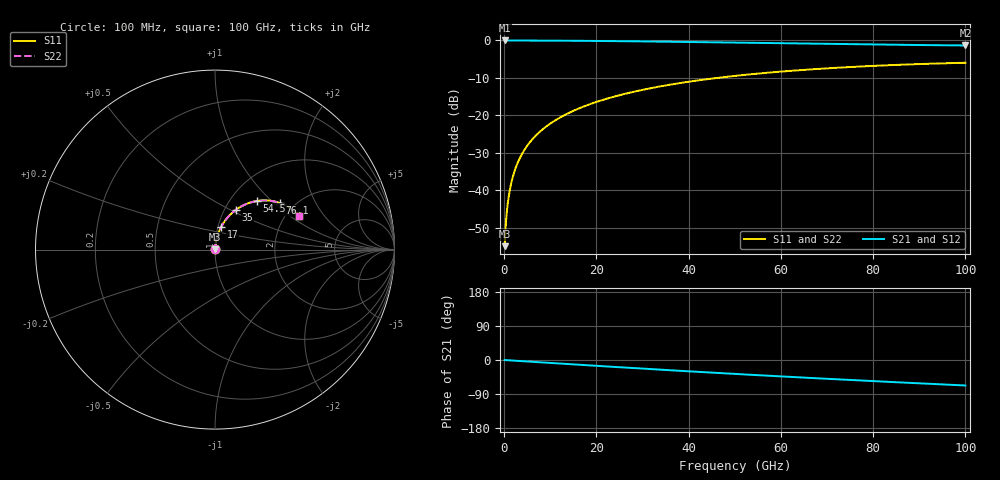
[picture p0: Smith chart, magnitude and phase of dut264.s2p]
! Touchstone file exported from HFSS 2026.1.0
!  File:  C:/ffzhzh/LocalFiles/Ansys_Project_Files/temp_train_RDL_264_1783501741_31944.aedt
!  Generated:  05:10:17 PM Jul  8, 2026
!  Design:  RDL
!  Project:  temp_train_RDL_264_1783501741_31944
! Variables:
!  h_bsmrdl = 2um
!  h_ox = 20um
!  h_rdl = 5um
!  h_sub = 80um
!  h_tmrdl = 2.41um
!  h_tsv = 80um
!  h_via = 3um
!  l_bsmrdl = 300um
!  l_sub = 589.78um
!  l_tmrdl = 189.78um
!  m_sub = 200um
!  pitch = 44.6um
!  r_tsv = 6um
!  s_tmrdl = 10um
!  w_bsmrdl = 18um
!  w_sub = 500um
!  w_tmrdl = 22.75um
!  x_tsv_center1 = 201.155um
!  x_tsv_center2 = 519.155um
!  x_tsv_center3 = 731.685um
!  x_tsv_center4 = 1049.685um
!  x_tsv_center5 = 1262.215um
!  x_tsv_center6 = 1580.215um
# GHz S MA R 50.000000
! Terminal data exported
! Port[1] = TM_RDL1_1_T1
! Port[2] = TM_RDL1_1_T2
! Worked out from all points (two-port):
!   1000 points, 100 MHz to 100 GHz, reference 50 ohm
!   highest |S21| = -0.01 dB at 100 MHz (marker M1); lowest = -1.3 dB at 100 GHz (marker M2)
!   |S21| within 3 dB of the highest: start of sweep to end of sweep
!   lowest |S11| = -54.9 dB at 100 MHz (marker M3), VSWR 1.00, Z = 50.2 + j0.0879 ohm
!   |S11| at or under -10 dB: start of sweep to 46.31 GHz
!   |S22| runs from -54.9 to -6.0 dB; largest |S21 - S12| = 6.1e-15
!   S11 on the Smith chart (normalised r, x): 100 MHz: 1.00, +0.00; 17 GHz: 1.04, +0.26; 35 GHz: 1.13, +0.53; 54.5 GHz: 1.32, +0.82; 76.1 GHz: 1.68, +1.09; 100 GHz: 2.33, +1.18
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0.1  0.001792 29.3  0.9984 -0.1  0.9984 -0.1  0.001792 29.3
! Gamma 0 0 0 0
! Port Impedance 50 0 50 0
0.4  0.003811 62.8  0.9983 -0.3  0.9983 -0.3  0.003811 62.8
0.9  0.007574 74.5  0.998 -0.7  0.998 -0.7  0.007574 74.4
1.2  0.009852 77.3  0.9979 -1.0  0.9979 -1.0  0.009852 77.3
1.6  0.01292 79.6  0.9979 -1.3  0.9979 -1.3  0.01292 79.6
2.1  0.01678 81.1  0.9977 -1.7  0.9977 -1.7  0.01678 81.1
2.7  0.02143 82.0  0.9976 -2.1  0.9976 -2.1  0.02143 82.0
4.2  0.03306 82.7  0.9971 -3.3  0.9971 -3.3  0.03306 82.6
6.3  0.0493 82.1  0.9962 -4.9  0.9962 -4.9  0.0493 82.0
9.1  0.07073 80.5  0.9945 -7.1  0.9945 -7.1  0.07073 80.4
12.6  0.09705 78.1  0.9916 -9.8  0.9916 -9.8  0.09706 78.1
16.8  0.1279 75.1  0.9874 -13.0  0.9874 -13.0  0.1279 75.1
17  0.1293 75.0  0.9872 -13.1  0.9872 -13.1  0.1293 74.9
24.3  0.1807 69.8  0.9782 -18.6  0.9782 -18.6  0.1807 69.7
33.4  0.2406 63.4  0.9644 -25.2  0.9644 -25.2  0.2406 63.3
35  0.2506 62.3  0.9617 -26.3  0.9617 -26.3  0.2506 62.2
50.1  0.3362 52.1  0.9346 -36.8  0.9346 -36.8  0.3362 52.0
54.5  0.3581 49.2  0.9264 -39.7  0.9264 -39.7  0.3581 49.1
66.7  0.4112 41.5  0.9039 -47.6  0.9039 -47.6  0.4112 41.4
76.1  0.4448 35.8  0.8878 -53.3  0.8878 -53.3  0.4448 35.7
83.4  0.4667 31.5  0.8766 -57.7  0.8766 -57.7  0.4667 31.4
100  0.5033 22.1  0.8561 -67.3  0.8561 -67.3  0.5033 21.9
